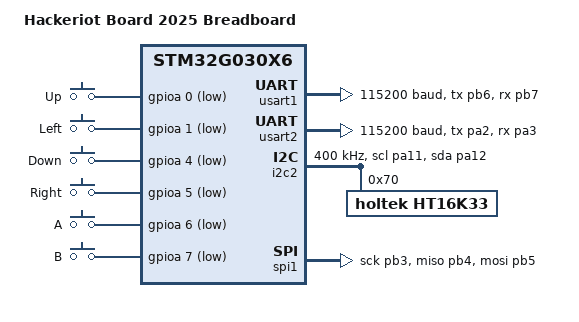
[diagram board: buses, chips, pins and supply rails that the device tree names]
/*
 * Copyright (c) 2025 Benny Meisels <benny.meisels@gmail.com>
 *                    Rani Hod <rani.hod@gmail.com>
 *
 * SPDX-License-Identifier: Apache-2.0
 */

/dts-v1/;
#include <st/g0/stm32g030X6.dtsi>
#include <st/g0/stm32g030f6px-pinctrl.dtsi>
#include <zephyr/dt-bindings/input/input-event-codes.h>

/ {
	model = "Hackeriot Board 2025 Breadboard";
	compatible = "st,hackeriot_board_2025_breadboard";

	chosen {
		zephyr,console = &usart2;
		zephyr,shell-uart = &usart2;
		zephyr,sram = &sram0;
		zephyr,flash = &flash0;
	};

	buttons {
		compatible = "gpio-keys";

   		button-0 {
   			gpios = <&gpioa 0 (GPIO_PULL_UP | GPIO_ACTIVE_LOW)>;
   			label = "Up";
			zephyr,code = <INPUT_BTN_DPAD_UP>;
   		};
   		button-1 {
   			gpios = <&gpioa 1 (GPIO_PULL_UP | GPIO_ACTIVE_LOW)>;
   			label = "Left";
			zephyr,code = <INPUT_BTN_DPAD_LEFT>;
   		};
   		button-2 {
   			gpios = <&gpioa 4 (GPIO_PULL_UP | GPIO_ACTIVE_LOW)>;
   			label = "Down";
			zephyr,code = <INPUT_BTN_DPAD_DOWN>;
   		};
   		button-3 {
   			gpios = <&gpioa 5 (GPIO_PULL_UP | GPIO_ACTIVE_LOW)>;
   			label = "Right";
			zephyr,code = <INPUT_BTN_DPAD_RIGHT>;
   		};
   		button-4 {
   			gpios = <&gpioa 6 (GPIO_PULL_UP | GPIO_ACTIVE_LOW)>;
   			label = "A";
			zephyr,code = <INPUT_BTN_A>;
   		};
   		button-5 {
   			gpios = <&gpioa 7 (GPIO_PULL_UP | GPIO_ACTIVE_LOW)>;
   			label = "B";
			zephyr,code = <INPUT_BTN_B>;
   		};
	};
};

&clk_hsi {
	status = "okay";
};

&pll {
	div-m = <1>;
	mul-n = <8>;
	div-r = <2>;
	clocks = <&clk_hsi>;
	status = "okay";
};

&rcc {
	clocks = <&pll>;
	clock-frequency = <DT_FREQ_M(64)>;
	ahb-prescaler = <1>;
	apb1-prescaler = <1>;
};

&usart1 {
	pinctrl-0 = <&usart1_tx_pb6 &usart1_rx_pb7>;
	pinctrl-names = "default";
	current-speed = <115200>;
};

&usart2 {
	pinctrl-0 = <&usart2_tx_pa2 &usart2_rx_pa3>;
	pinctrl-names = "default";
	current-speed = <115200>;
	status = "okay";
};

&i2c1 {
	pinctrl-0 = <&i2c1_scl_pa9 &i2c1_sda_pa10>;
	pinctrl-names = "default";
	clock-frequency = <I2C_BITRATE_FAST>;
	status = "disabled";
};

&i2c2 {
	pinctrl-0 = <&i2c2_scl_pa11 &i2c2_sda_pa12>;
	pinctrl-names = "default";
	clock-frequency = <I2C_BITRATE_FAST>;

	ht16k33@70 {
		compatible = "holtek,ht16k33";
		reg = <0x70>;
	};	
	status = "okay";
};

&spi1 {
	pinctrl-0 = <&spi1_sck_pb3 &spi1_miso_pb4 &spi1_mosi_pb5>;
	pinctrl-names = "default";
};
